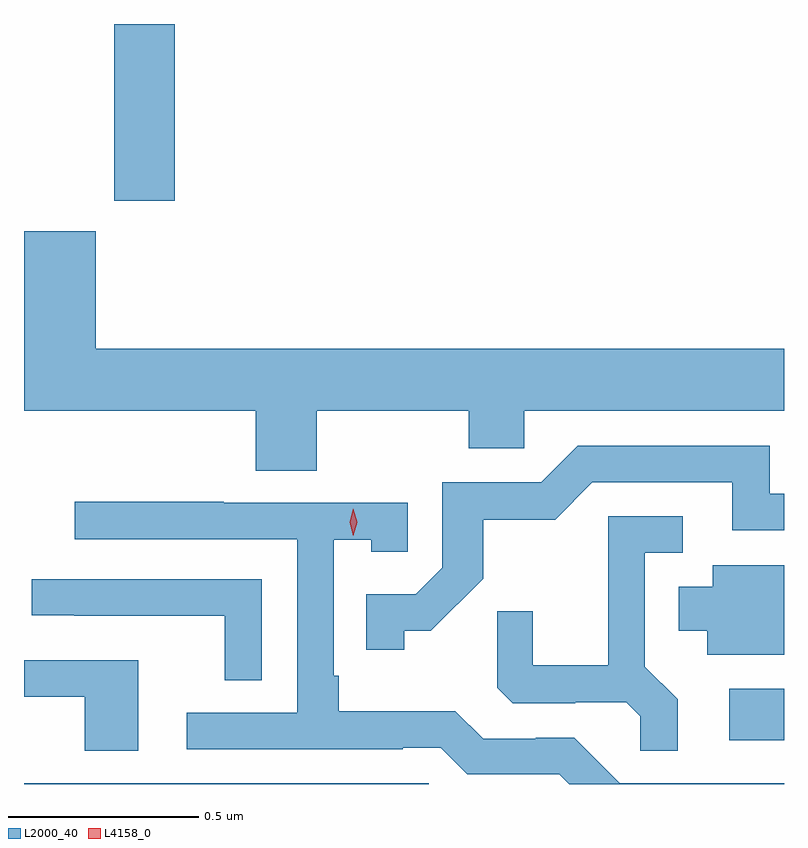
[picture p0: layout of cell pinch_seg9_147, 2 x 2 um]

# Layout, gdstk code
import gdstk
lib = gdstk.Library(unit=1e-6, precision=1e-09)
def R(c, l, rs):  # rectangles x0, y0, x1, y1
    for r in rs: c.add(gdstk.rectangle(r[:2], r[2:], *l))
def P(c, l, *ps):  # polygons
    for p in ps: c.add(gdstk.Polygon(p, *l))
L2000_40 = (2000, 40)
L4158_0 = (4158, 0)

pinch_seg9_147 = lib.new_cell('pinch_seg9_147')
R(pinch_seg9_147, L2000_40, [(672.571,1234.066,673.636,1234.068), (674.427,1234.181,674.571,1234.317), (672.808,1235.601,672.968,1236.066)])
P(pinch_seg9_147, L2000_40, [(672.571,1235.521),(672.571,1235.048),(673.181,1235.048),(673.181,1234.891),(673.341,1234.891),(673.341,1235.048),(673.741,1235.048),(673.741,1234.95),(673.887,1234.95),(673.887,1235.048),(674.571,1235.048),(674.571,1235.212),(672.76,1235.212),(672.76,1235.521)],
  [(673.572,1234.469),(673.642,1234.469),(673.78,1234.606),(673.78,1234.762),(673.969,1234.762),(674.067,1234.86),(674.435,1234.86),(674.435,1234.734),(674.571,1234.734),(674.571,1234.83),(674.534,1234.83),(674.534,1234.956),(674.028,1234.956),(673.932,1234.86),(673.671,1234.86),(673.671,1234.635),(673.602,1234.566),(673.471,1234.566),(673.471,1234.419),(673.572,1234.419)],
  [(674.571,1234.068),(674.139,1234.068),(674.019,1234.188),(673.918,1234.188),(673.918,1234.185),(673.779,1234.185),(673.706,1234.258),(673.399,1234.258),(673.399,1234.351),(673.386,1234.351),(673.386,1234.709),(673.485,1234.709),(673.485,1234.677),(673.581,1234.677),(673.581,1234.806),(673.097,1234.806),(673.097,1234.809),(672.705,1234.809),(672.705,1234.71),(673.29,1234.71),(673.29,1234.254),(672.999,1234.254),(672.999,1234.158),(673.568,1234.158),(673.568,1234.161),(673.668,1234.161),(673.737,1234.092),(673.98,1234.092),(674.006,1234.066),(674.571,1234.066)],
  [(674.291,1234.289),(674.205,1234.375),(674.205,1234.674),(674.305,1234.674),(674.305,1234.77),(674.108,1234.77),(674.108,1234.378),(673.91,1234.378),(673.91,1234.521),(673.816,1234.521),(673.816,1234.319),(673.857,1234.278),(674.022,1234.278),(674.022,1234.281),(674.156,1234.281),(674.193,1234.244),(674.193,1234.153),(674.291,1234.153)],
  [(674.571,1234.642),(674.384,1234.642),(674.384,1234.585),(674.294,1234.585),(674.294,1234.469),(674.369,1234.469),(674.369,1234.406),(674.571,1234.406)],
  [(673.197,1234.605),(672.591,1234.605),(672.591,1234.51),(672.703,1234.51),(672.703,1234.509),(673.099,1234.509),(673.099,1234.339),(673.197,1234.339)],
  [(672.871,1234.392),(672.571,1234.392),(672.571,1234.296),(672.731,1234.296),(672.731,1234.153),(672.871,1234.153)])
P(pinch_seg9_147, L4158_0, [(673.438,1234.719),(673.438,1234.719),(673.428,1234.755),(673.438,1234.79),(673.438,1234.791),(673.438,1234.79),(673.448,1234.755),(673.438,1234.719)])

lib.write_gds('pinch_seg9_147.gds')
